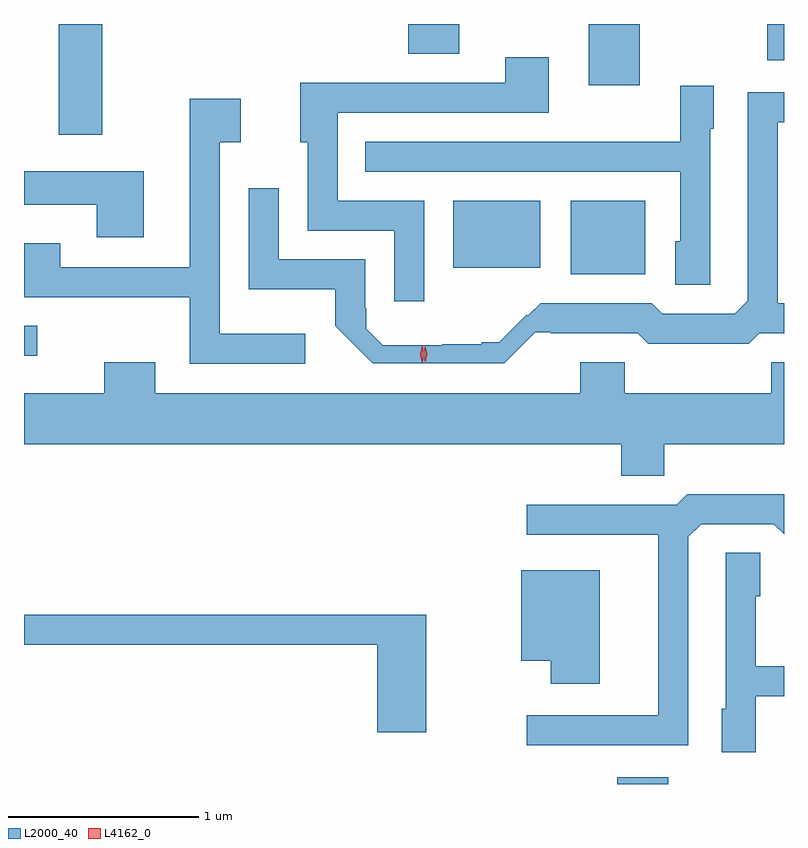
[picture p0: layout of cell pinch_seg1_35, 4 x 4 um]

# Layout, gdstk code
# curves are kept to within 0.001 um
import gdstk
lib = gdstk.Library(unit=1e-6, precision=1e-09)
def R(c, l, rs):  # rectangles x0, y0, x1, y1
    for r in rs: c.add(gdstk.rectangle(r[:2], r[2:], *l))
def P(c, l, *ps):  # polygons
    for p in ps: c.add(gdstk.Polygon(p, *l))
L2000_40 = (2000, 40)
L4162_0 = (4162, 0)

pinch_seg1_35 = lib.new_cell('pinch_seg1_35')
R(pinch_seg1_35, L2000_40, [(1387.211,900.008,1387.479,900.044), (1384.088,902.261,1384.158,902.419), (1386.966,902.691,1387.359,903.079), (1386.346,902.726,1386.804,903.079), (1384.271,903.426,1384.499,904.008), (1387.061,903.686,1387.329,904.008), (1388.001,903.816,1388.088,904.008), (1386.111,903.851,1386.379,904.008)])
P(pinch_seg1_35, L2000_40, [(1386.194,903.079),(1385.739,903.079),(1385.739,903.541),(1386.849,903.541),(1386.849,903.834),(1386.621,903.834),(1386.621,903.699),(1385.541,903.699),(1385.541,903.386),(1385.581,903.386),(1385.581,902.921),(1386.036,902.921),(1386.036,902.548),(1386.194,902.548)],
  [(1387.699,903.456),(1387.719,903.456),(1387.719,903.684),(1387.541,903.684),(1387.541,903.389),(1385.883,903.389),(1385.883,903.231),(1387.541,903.231),(1387.541,902.864),(1387.516,902.864),(1387.516,902.636),(1387.699,902.636)],
  [(1386.689,902.296),(1386.779,902.385),(1386.86,902.385),(1386.86,902.381),(1387.319,902.381),(1387.374,902.326),(1387.902,902.326),(1387.957,902.381),(1388.088,902.381),(1388.088,902.539),(1388.054,902.539),(1388.054,903.491),(1388.088,903.491),(1388.088,903.649),(1387.896,903.649),(1387.896,902.552),(1387.829,902.484),(1387.447,902.484),(1387.392,902.539),(1386.807,902.539),(1386.74,902.472),(1386.733,902.479),(1386.589,902.334),(1386.497,902.334),(1386.497,902.322),(1386.288,902.322),(1386.288,902.317),(1385.976,902.317),(1385.89,902.403),(1385.89,902.513),(1385.884,902.513),(1385.884,902.769),(1385.429,902.769),(1385.429,903.143),(1385.271,903.143),(1385.271,902.611),(1385.726,902.611),(1385.726,902.419),(1385.923,902.222),(1386.615,902.222)],
  [(1385.568,902.379),(1385.119,902.379),(1385.119,903.386),(1385.229,903.386),(1385.229,903.614),(1384.961,903.614),(1384.961,902.729),(1384.279,902.729),(1384.279,902.854),(1384.088,902.854),(1384.088,902.571),(1384.961,902.571),(1384.961,902.221),(1385.568,902.221)],
  [(1384.719,903.234),(1384.088,903.234),(1384.088,903.056),(1384.471,903.056),(1384.471,902.886),(1384.719,902.886)],
  [(1387.459,901.796),(1388.088,901.796),(1388.088,902.229),(1388.021,902.229),(1388.021,902.064),(1387.249,902.064),(1387.249,902.229),(1387.016,902.229),(1387.016,902.064),(1384.779,902.064),(1384.779,902.229),(1384.511,902.229),(1384.511,902.064),(1384.088,902.064),(1384.088,901.796),(1387.231,901.796),(1387.231,901.631),(1387.459,901.631)],
  [(1387.584,901.309),(1387.652,901.376),(1388.034,901.376),(1388.088,901.322),(1388.088,901.534),(1387.579,901.534),(1387.524,901.479),(1386.733,901.479),(1386.733,901.321),(1387.426,901.321),(1387.426,900.369),(1386.733,900.369),(1386.733,900.211),(1387.584,900.211)],
  [(1387.939,900.471),(1388.088,900.471),(1388.088,900.629),(1387.939,900.629),(1387.939,900.996),(1387.964,900.996),(1387.964,901.224),(1387.781,901.224),(1387.781,900.404),(1387.761,900.404),(1387.761,900.176),(1387.939,900.176)],
  [(1387.119,901.134),(1386.706,901.134),(1386.706,900.656),(1386.861,900.656),(1386.861,900.536),(1387.119,900.536)],
  [(1386.204,900.899),(1384.088,900.899),(1384.088,900.741),(1385.946,900.741),(1385.946,900.281),(1386.204,900.281)])
P(pinch_seg1_35, L4162_0, [(1386.2,902.23),(1386.2,902.23),(1386.19,902.27),(1386.199,902.311),(1386.2,902.311),(1386.2,902.311),(1386.21,902.27),(1386.201,902.23)],
  [(1386.184,902.222),(1386.183,902.223),(1386.174,902.269),(1386.184,902.316),(1386.184,902.317),(1386.184,902.316),(1386.194,902.269),(1386.184,902.223)])

lib.write_gds('pinch_seg1_35.gds')
